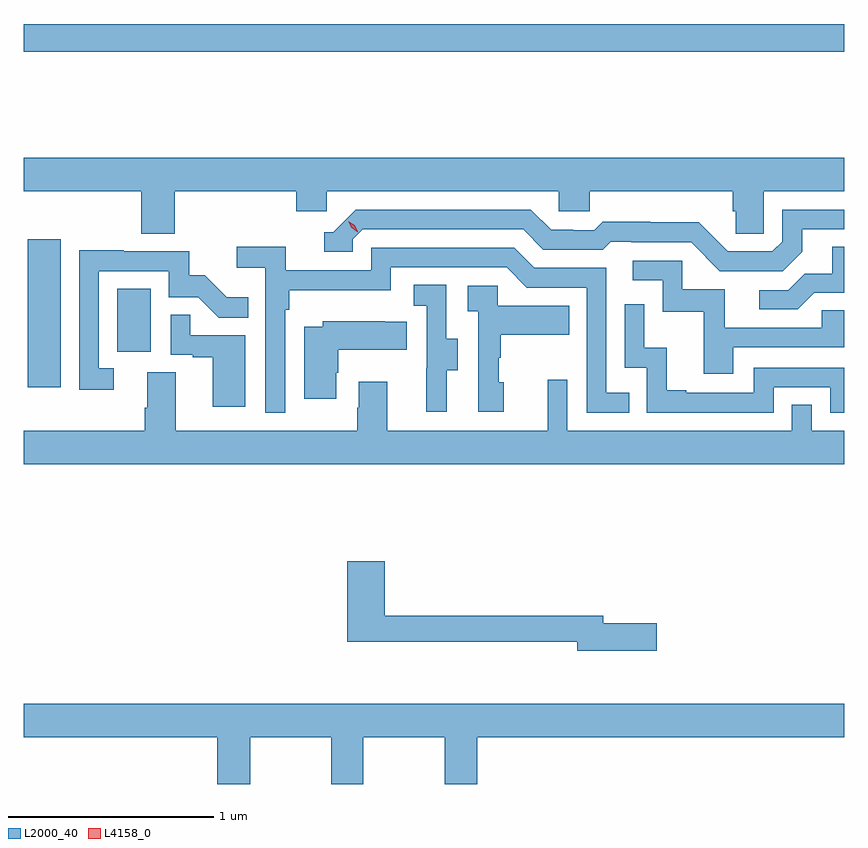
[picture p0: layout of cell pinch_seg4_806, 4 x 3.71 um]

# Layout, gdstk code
import gdstk
lib = gdstk.Library(unit=1e-6, precision=1e-09)
def R(c, l, rs):  # rectangles x0, y0, x1, y1
    for r in rs: c.add(gdstk.rectangle(r[:2], r[2:], *l))
def P(c, l, *ps):  # polygons
    for p in ps: c.add(gdstk.Polygon(p, *l))
L2000_40 = (2000, 40)
L4158_0 = (4158, 0)

pinch_seg4_806 = lib.new_cell('pinch_seg4_806')
R(pinch_seg4_806, L2000_40, [(817.121,793.2,817.282,793.921), (817.556,793.374,817.72,793.681), (817.102,794.836,821.102,794.972)])
P(pinch_seg4_806, L2000_40, [(817.838,794.156),(818.429,794.156),(818.429,794.058),(818.58,794.058),(818.58,794.156),(819.711,794.156),(819.711,794.058),(819.861,794.058),(819.861,794.156),(820.559,794.156),(820.559,794.058),(820.573,794.058),(820.573,793.948),(820.71,793.948),(820.71,794.156),(821.102,794.156),(821.102,794.32),(817.102,794.32),(817.102,794.156),(817.673,794.156),(817.673,793.948),(817.838,793.948)],
  [(820.897,793.861),(820.897,793.971),(821.102,793.971),(821.102,794.067),(820.8,794.067),(820.8,793.911),(820.752,793.863),(820.536,793.863),(820.394,794.005),(820.158,794.005),(820.158,794.008),(819.925,794.008),(819.883,793.965),(819.78,793.965),(819.78,793.968),(819.673,793.968),(819.574,794.067),(818.721,794.067),(818.61,793.956),(818.567,793.956),(818.567,793.86),(818.706,793.86),(818.706,793.923),(818.754,793.971),(819.537,793.971),(819.636,793.872),(819.925,793.872),(819.964,793.911),(820.063,793.911),(820.063,793.908),(820.356,793.908),(820.497,793.767),(820.803,793.767)],
  [(820.957,793.662),(821.102,793.662),(821.102,793.886),(821.045,793.886),(821.045,793.754),(820.91,793.754),(820.83,793.674),(820.689,793.674),(820.689,793.581),(820.876,793.581)],
  [(818.376,793.577),(818.396,793.577),(818.396,793.673),(818.892,793.673),(818.892,793.785),(819.456,793.785),(819.555,793.686),(819.846,793.686),(819.846,793.077),(820.055,793.077),(820.055,793.173),(819.942,793.173),(819.942,793.782),(819.592,793.782),(819.493,793.881),(818.796,793.881),(818.796,793.77),(818.378,793.77),(818.378,793.886),(818.139,793.886),(818.139,793.784),(818.28,793.784),(818.28,793.077),(818.376,793.077)],
  [(817.54,793.293),(817.467,793.293),(817.467,793.767),(817.809,793.767),(817.809,793.638),(817.953,793.638),(818.051,793.54),(818.195,793.54),(818.195,793.639),(818.091,793.639),(817.984,793.746),(817.908,793.746),(817.908,793.863),(817.589,793.863),(817.589,793.868),(817.371,793.868),(817.371,793.188),(817.54,793.188)],
  [(820.561,793.395),(821.102,793.395),(821.102,793.575),(820.993,793.575),(820.993,793.491),(820.519,793.491),(820.519,793.677),(820.314,793.677),(820.314,793.818),(820.071,793.818),(820.071,793.722),(820.218,793.722),(820.218,793.569),(820.417,793.569),(820.417,793.266),(820.561,793.266)],
  [(819.163,793.282),(819.217,793.282),(819.217,793.437),(819.162,793.437),(819.162,793.7),(819.003,793.7),(819.003,793.597),(819.066,793.597),(819.066,793.293),(819.065,793.293),(819.065,793.08),(819.163,793.08)],
  [(819.442,793.224),(819.417,793.224),(819.417,793.343),(819.427,793.343),(819.427,793.457),(819.761,793.457),(819.761,793.597),(819.414,793.597),(819.414,793.695),(819.267,793.695),(819.267,793.571),(819.318,793.571),(819.318,793.08),(819.442,793.08)],
  [(820.758,793.2),(821.034,793.2),(821.034,793.077),(821.102,793.077),(821.102,793.296),(820.662,793.296),(820.662,793.173),(820.333,793.173),(820.333,793.186),(820.238,793.186),(820.238,793.394),(820.128,793.394),(820.128,793.606),(820.032,793.606),(820.032,793.296),(820.14,793.296),(820.14,793.077),(820.758,793.077)],
  [(818.182,793.455),(817.913,793.455),(817.913,793.553),(817.818,793.553),(817.818,793.359),(817.925,793.359),(817.925,793.347),(818.024,793.347),(818.024,793.104),(818.182,793.104)],
  [(818.626,793.271),(818.634,793.271),(818.634,793.382),(818.969,793.382),(818.969,793.519),(818.861,793.519),(818.861,793.522),(818.559,793.522),(818.559,793.495),(818.468,793.495),(818.468,793.143),(818.626,793.143)],
  [(818.735,793.228),(818.735,793.1),(818.728,793.1),(818.728,792.988),(817.843,792.988),(817.843,793.274),(817.703,793.274),(817.703,793.1),(817.691,793.1),(817.691,792.988),(817.102,792.988),(817.102,792.824),(821.102,792.824),(821.102,792.988),(820.944,792.988),(820.944,793.115),(820.848,793.115),(820.848,792.988),(819.753,792.988),(819.753,793.237),(819.656,793.237),(819.656,792.988),(818.875,792.988),(818.875,793.228)],
  [(820.189,792.05),(819.928,792.05),(819.928,792.086),(818.861,792.086),(818.861,792.352),(818.678,792.352),(818.678,791.958),(819.8,791.958),(819.8,791.915),(820.189,791.915)],
  [(818.205,791.492),(818.602,791.492),(818.602,791.265),(818.756,791.265),(818.756,791.492),(819.154,791.492),(819.154,791.265),(819.314,791.265),(819.314,791.492),(821.102,791.492),(821.102,791.656),(817.102,791.656),(817.102,791.492),(818.045,791.492),(818.045,791.265),(818.205,791.265)])
P(pinch_seg4_806, L4158_0, [(818.73,793.957),(818.7,793.977),(818.684,794.009),(818.684,794.01),(818.684,794.01),(818.715,793.99),(818.73,793.958),(818.73,793.957)])

lib.write_gds('pinch_seg4_806.gds')
